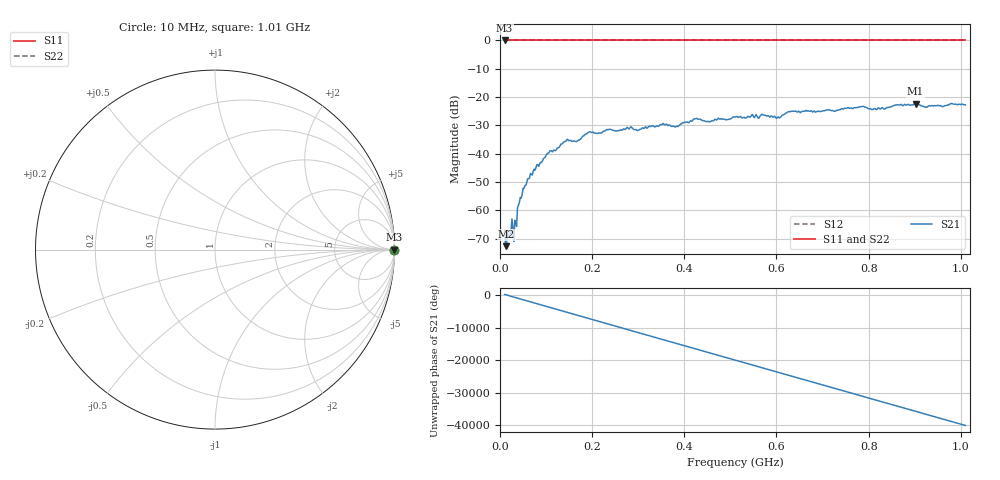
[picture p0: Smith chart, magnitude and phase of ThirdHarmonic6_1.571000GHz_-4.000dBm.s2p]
! 8/16/2025 6:40:42 PM
! C:\ANRITSUVNA\TEMP\TEMP.S2P
! CHANNEL.1
! TR.MEASUREMENT
! RAW.DATA
! RF.CORRECTION.OFF
! AVERAGING.OFF
! IF.BANDWIDTH: 5KHZ
! SWEEPTYPE:  FREQ.SWEEP(Linear)
! Reference Plane Port Info
! PORT:  PORT1  PORT2
! DISTANCE:  0  m  0  m
! TIME:  0  s  0  s
! PHASE.OFFSET:  0  deg.  0  deg.
! LOSS:  0  dB  0  dB
! REF.LOSS:  0  dB  0  dB
! REF.FREQ:  0  Hz  0  Hz
! Power Info
! POWER:  -20  dBm  -20  dBm
! EFF.POWER:  -20  dBm  -20  dBm
! SOURCE.ATTEN:  0  dB  0  dB
! TEST.ATTEN:  0  dB  0  dB
# GHZ S RI R 50.0
! FREQ.GHZ  S11RE  S11IM  S21RE  S21IM  S12RE  S12IM  S22RE  S22IM
!; PortSelection: Port_12
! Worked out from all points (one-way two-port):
!   501 points, 10 MHz to 1.01 GHz, reference 50 ohm
!   highest |S21| = -22.27 dB at 902 MHz (marker M1); lowest = -72.6 dB at 14 MHz (marker M2)
!   lowest |S11| = 0.0 dB at 10 MHz (marker M3)
!   |S11| at or under -10 dB: nowhere
!   |S22| runs from 0.0 to 0.0 dB; largest |S21 - S12| = 1.1
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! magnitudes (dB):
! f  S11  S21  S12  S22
! 10 MHz  0.0  -66.9  0.0  0.0
! 14 MHz  0.0  -72.6  0.0  0.0
! 32 MHz  0.0  -63.5  0.0  0.0
! 42 MHz  0.0  -57.2  0.0  0.0
! 48 MHz  0.0  -54.4  0.0  0.0
! 78 MHz  0.0  -44.9  0.0  0.0
! 106 MHz  0.0  -39.7  0.0  0.0
! 142 MHz  0.0  -35.7  0.0  0.0
! 178 MHz  0.0  -34.1  0.0  0.0
! 194 MHz  0.0  -32.2  0.0  0.0
! 344 MHz  0.0  -30.3  0.0  0.0
! 382 MHz  0.0  -30.4  0.0  0.0
! 424 MHz  0.0  -27.6  0.0  0.0
! 452 MHz  0.0  -28.5  0.0  0.0
! 510 MHz  0.0  -27.0  0.0  0.0
! 604 MHz  0.0  -27.0  0.0  0.0
! 630 MHz  0.0  -25.2  0.0  0.0
! 678 MHz  0.0  -25.2  0.0  0.0
! 844 MHz  0.0  -23.6  0.0  0.0
! 902 MHz  0.0  -22.3  0.0  0.0
! 924 MHz  0.0  -23.6  0.0  0.0
! 1.01 GHz  0.0  -22.7  0.0  0.0
